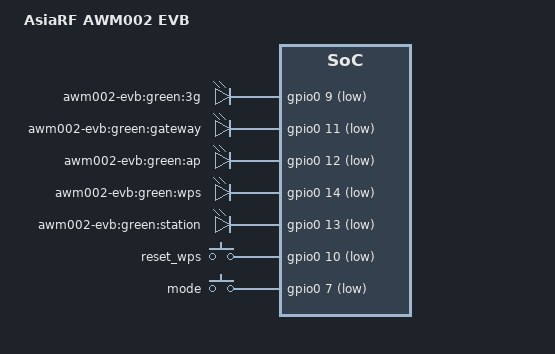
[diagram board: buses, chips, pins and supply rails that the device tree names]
/dts-v1/;

/include/ "AWM002-8M.dtsi"

/ {
	model = "AsiaRF AWM002 EVB";

	gpio-leds {
		compatible = "gpio-leds";
		3g {
			label = "awm002-evb:green:3g";
			gpios = <&gpio0 9 1>;
		};
		gateway {
			label = "awm002-evb:green:gateway";
			gpios = <&gpio0 11 1>;
		};
		ap {
			label = "awm002-evb:green:ap";
			gpios = <&gpio0 12 1>;
		};
		wps {
			label = "awm002-evb:green:wps";
			gpios = <&gpio0 14 1>;
		};
		station {
			label = "awm002-evb:green:station";
			gpios = <&gpio0 13 1>;
		};
	};

	gpio-keys-polled {
		compatible = "gpio-keys-polled";
		#address-cells = <1>;
		#size-cells = <0>;
		poll-interval = <20>;
		reset_wps {
			label = "reset_wps";
			gpios = <&gpio0 10 1>;
			linux,code = <0x198>;
		};
		mode {
			label = "mode";
			gpios = <&gpio0 7 1>;
			linux,code = <0x32>;
		};
	};

};
